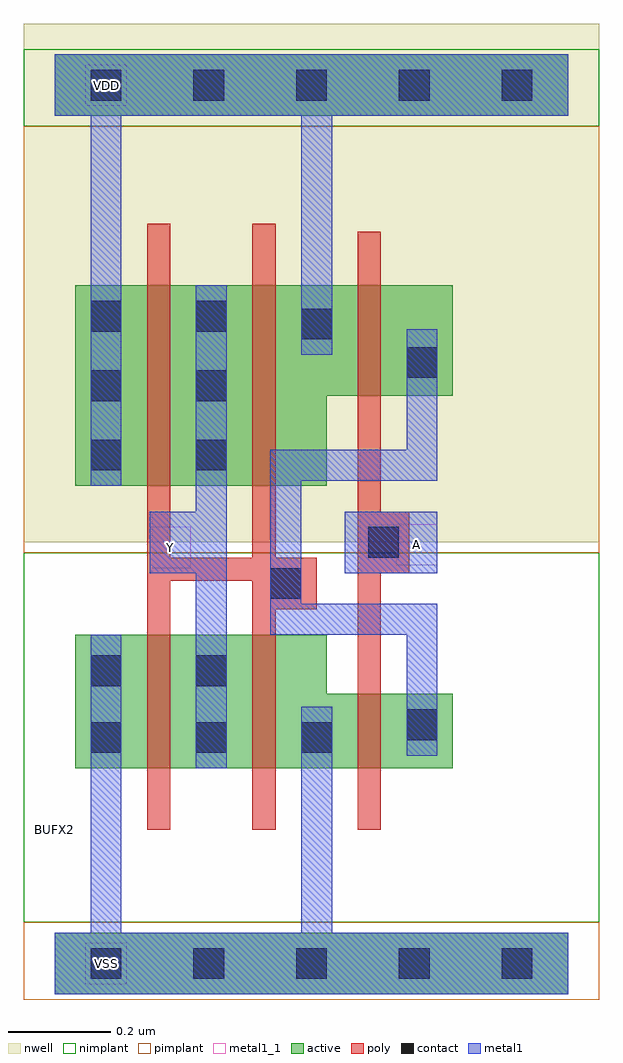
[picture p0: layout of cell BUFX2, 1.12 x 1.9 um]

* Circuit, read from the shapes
.subckt BUFX2 A VDD VSS Y
M1 Y n1 VSS VSS nfet w=0.26u l=0.045u m=2
M2 n1 A VSS VSS nfet w=0.145u l=0.045u
M3 Y n1 VDD VDD pfet w=0.39u l=0.045u m=2
M4 n1 A VDD VDD pfet w=0.215u l=0.045u
.ends

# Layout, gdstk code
import gdstk
lib = gdstk.Library(unit=1e-6, precision=5e-10)
def R(c, l, rs):  # rectangles x0, y0, x1, y1
    for r in rs: c.add(gdstk.rectangle(r[:2], r[2:], *l))
def A(c, l, x, y, w, h, nx, ny, dx, dy):  # array of equal rectangles
    R(c, l, [(x+i*dx, y+j*dy, x+i*dx+w, y+j*dy+h) for i in range(nx) for j in range(ny)])
def P(c, l, *ps):  # polygons
    for p in ps: c.add(gdstk.Polygon(p, *l))
active = (1, 0)
nwell = (2, 0)
poly = (3, 0)
nimplant = (4, 0)
pimplant = (5, 0)
contact = (6, 0)
metal1 = (7, 0)
metal1_1 = (7, 1)

bufx2 = lib.new_cell('BUFX2')
R(bufx2, active, [(0,-0.06,1,0.06), (0,1.65,1,1.77)])
P(bufx2, active, [(0.775,0.525),(0.53,0.525),(0.53,0.64),(0.04,0.64),(0.04,0.38),(0.775,0.38)],
  [(0.775,1.32),(0.04,1.32),(0.04,0.93),(0.53,0.93),(0.53,1.105),(0.775,1.105)])
R(bufx2, nwell, [(-0.06,0.82,1.06,1.83)])
P(bufx2, poly, [(0.69,0.88),(0.635,0.88),(0.635,1.425),(0.59,1.425),(0.59,0.26),(0.635,0.26),(0.635,0.76),(0.69,0.76)],
  [(0.51,0.79),(0.43,0.79),(0.43,1.44),(0.385,1.44),(0.385,0.79),(0.225,0.79),(0.225,1.44),(0.18,1.44),(0.18,0.26),(0.225,0.26),(0.225,0.745),(0.385,0.745),(0.385,0.26),(0.43,0.26),(0.43,0.69),(0.51,0.69)])
R(bufx2, nimplant, [(-0.06,0.08,1.06,0.8), (-0.06,1.63,1.06,1.78)])
R(bufx2, pimplant, [(-0.06,-0.07,1.06,0.08), (-0.06,0.8,1.06,1.63)])
A(bufx2, contact, 0.07, -0.03, 0.06, 0.06, 5, 2, 0.2, 1.71)
A(bufx2, contact, 0.07, 0.41, 0.06, 0.06, 3, 1, 0.205, 0)
A(bufx2, contact, 0.07, 0.96, 0.06, 0.06, 1, 3, 0, 0.135)
A(bufx2, contact, 0.275, 0.96, 0.06, 0.06, 1, 3, 0, 0.135)
R(bufx2, contact, [(0.685,0.435,0.745,0.495), (0.07,0.54,0.13,0.6), (0.275,0.54,0.335,0.6), (0.42,0.71,0.48,0.77), (0.61,0.79,0.67,0.85), (0.685,1.14,0.745,1.2), (0.48,1.215,0.54,1.275)])
R(bufx2, metal1, [(0.565,0.76,0.745,0.88)])
P(bufx2, metal1, [(1,1.77),(0,1.77),(0,1.65),(0.07,1.65),(0.07,0.93),(0.13,0.93),(0.13,1.65),(0.48,1.65),(0.48,1.185),(0.54,1.185),(0.54,1.65),(1,1.65)],
  [(0.745,0.7),(0.48,0.7),(0.48,0.94),(0.745,0.94),(0.745,1.235),(0.685,1.235),(0.685,1),(0.42,1),(0.42,0.64),(0.685,0.64),(0.685,0.405),(0.745,0.405)],
  [(0.335,1.32),(0.275,1.32),(0.275,0.88),(0.185,0.88),(0.185,0.76),(0.275,0.76),(0.275,0.38),(0.335,0.38)],
  [(1,0.06),(0.54,0.06),(0.54,0.5),(0.48,0.5),(0.48,0.06),(0.13,0.06),(0.13,0.64),(0.07,0.64),(0.07,0.06),(0,0.06),(0,-0.06),(1,-0.06)])
R(bufx2, metal1_1, [(0.06,-0.04,0.14,0.04), (0.185,0.77,0.265,0.85), (0.665,0.775,0.745,0.855), (0.06,1.67,0.14,1.75)])
bufx2.add(gdstk.Label('Y', (0.225,0.81), layer=7, texttype=1))
bufx2.add(gdstk.Label('A', (0.705,0.815), layer=7, texttype=1))
bufx2.add(gdstk.Label('VDD', (0.1,1.71), layer=7, texttype=1))
bufx2.add(gdstk.Label('VSS', (0.1,0), layer=7, texttype=1))
bufx2.add(gdstk.Label('BUFX2', (0,0.26), layer=63, texttype=0))

lib.write_gds('BUFX2.gds')
